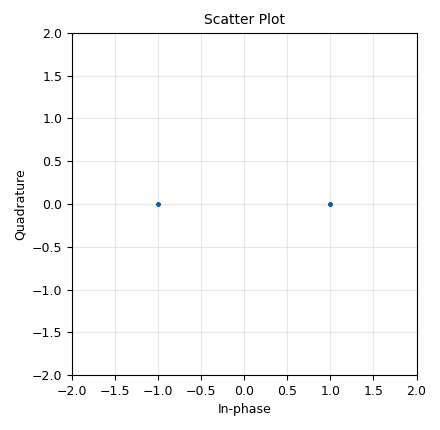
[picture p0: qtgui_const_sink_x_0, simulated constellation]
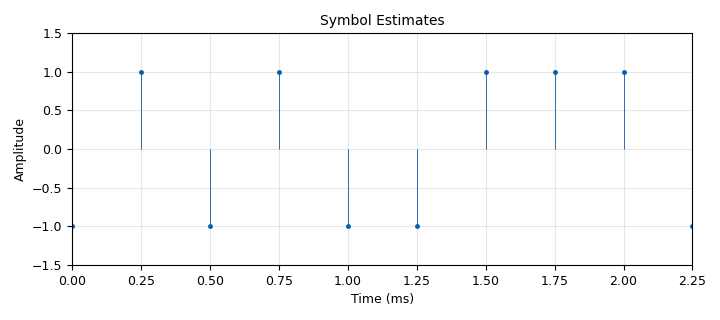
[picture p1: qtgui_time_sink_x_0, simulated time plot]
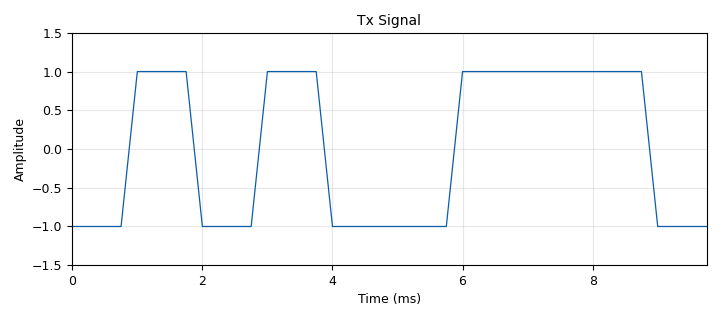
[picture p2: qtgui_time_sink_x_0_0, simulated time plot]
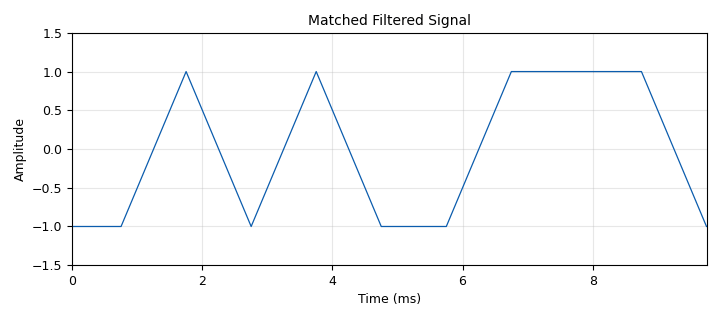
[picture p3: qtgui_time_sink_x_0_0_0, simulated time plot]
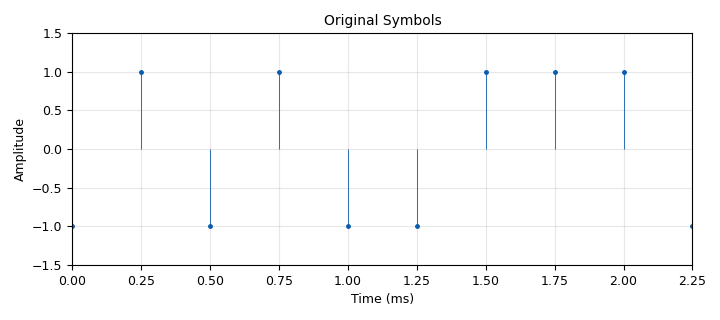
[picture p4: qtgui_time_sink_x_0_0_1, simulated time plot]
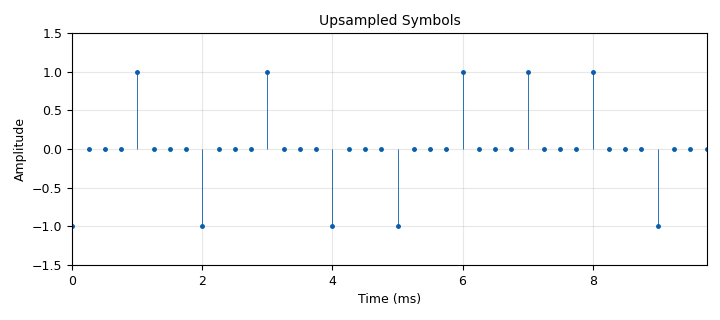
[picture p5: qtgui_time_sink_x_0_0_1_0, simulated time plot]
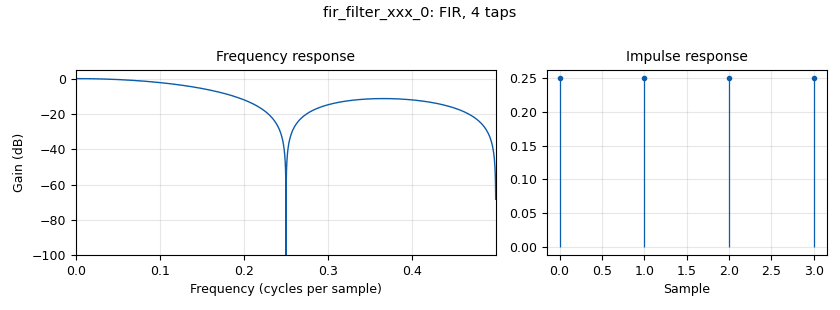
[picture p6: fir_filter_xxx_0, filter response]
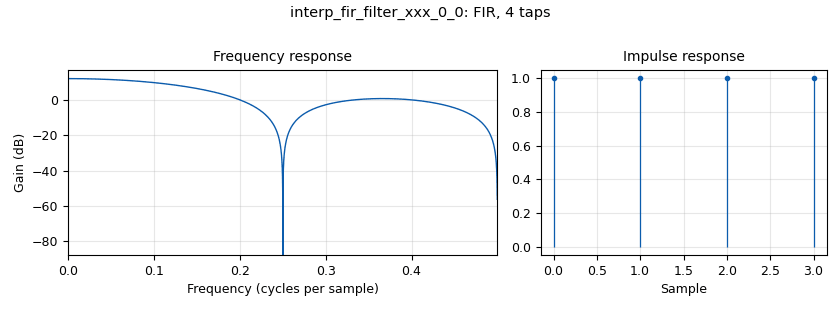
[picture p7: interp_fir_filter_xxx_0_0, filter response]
options:
  parameters:
    author: Qasim Chaudhari
    generate_options: qt_gui
    id: pam_rx_rect
    output_language: python
    title: PAM Rx Rect
  states: {}

blocks:
- name: downsample_delay
  id: variable
  parameters:
    value: '0'
  states: {}
- name: nSymbols
  id: variable
  parameters:
    value: '10'
  states: {}
- name: samp_per_sym
  id: variable
  parameters:
    value: '4'
  states: {}
- name: samp_rate
  id: variable
  parameters:
    value: '4000'
  states: {}
- name: analog_random_source_x_0
  id: analog_random_source_x
  parameters:
    comment: Bits Generation
    max: '2'
    min: '0'
    num_samps: '1000'
    repeat: 'True'
    type: byte
  states: {}
- name: blocks_char_to_float_0
  id: blocks_char_to_float
  parameters:
    scale: '1'
  states: {}
- name: blocks_float_to_complex_0
  id: blocks_float_to_complex
  parameters: {}
  states: {}
- name: blocks_keep_one_in_n_0
  id: blocks_keep_one_in_n
  parameters:
    n: samp_per_sym
    type: float
  states: {}
- name: blocks_pack_k_bits_bb_0
  id: blocks_pack_k_bits_bb
  parameters:
    k: '1'
  states: {}
- name: blocks_skiphead_0
  id: blocks_skiphead
  parameters:
    num_items: downsample_delay
    type: float
  states: {}
- name: blocks_throttle_0
  id: blocks_throttle
  parameters:
    samples_per_second: samp_rate
    type: byte
  states: {}
- name: digital_map_bb_0
  id: digital_map_bb
  parameters:
    comment: Look-Up Table
    map: (-1,1)
  states: {}
- name: fir_filter_xxx_0
  id: fir_filter_xxx
  parameters:
    comment: Matched Filter
    decim: '1'
    taps: 1./float(samp_per_sym)*np.ones(samp_per_sym)
    type: fff
  states: {}
- name: import_0
  id: import
  parameters:
    imports: import numpy as np
  states: {}
- name: interp_fir_filter_xxx_0
  id: interp_fir_filter_xxx
  parameters:
    comment: Upsampler
    interp: samp_per_sym
    taps: np.hstack((1,np.zeros(samp_per_sym-1)))
    type: fff
  states: {}
- name: interp_fir_filter_xxx_0_0
  id: interp_fir_filter_xxx
  parameters:
    comment: Rectangular Pulse
    interp: '1'
    taps: np.ones(samp_per_sym)
    type: fff
  states: {}
- name: note_0_1
  id: note
  parameters:
    note: Downsampler
  states: {}
- name: qtgui_const_sink_x_0
  id: qtgui_const_sink_x
  parameters:
    grid: 'True'
    gui_hint: 1,2,1,1
    legend: 'False'
    name: Scatter Plot
    size: '100'
    type: complex
  states: {}
- name: qtgui_time_sink_x_0
  id: qtgui_time_sink_x
  parameters:
    grid: 'True'
    gui_hint: 1,1,1,1
    label1: ''
    legend: 'False'
    marker1: '0'
    name: Symbol Estimates
    size: nSymbols
    srate: samp_rate
    stemplot: 'True'
    type: float
    width1: '2'
    ymax: '1.5'
    ymin: '-1.5'
  states: {}
- name: qtgui_time_sink_x_0_0
  id: qtgui_time_sink_x
  parameters:
    grid: 'True'
    gui_hint: 0,2,1,1
    label1: ''
    legend: 'False'
    name: Tx Signal
    size: nSymbols*samp_per_sym
    srate: samp_rate
    type: float
    width1: '2'
    ymax: '1.5'
    ymin: '-1.5'
  states: {}
- name: qtgui_time_sink_x_0_0_0
  id: qtgui_time_sink_x
  parameters:
    grid: 'True'
    gui_hint: 1,0,1,1
    label1: ''
    legend: 'False'
    name: Matched Filtered Signal
    size: nSymbols*samp_per_sym
    srate: samp_rate
    type: float
    width1: '2'
    ymax: '1.5'
    ymin: '-1.5'
  states: {}
- name: qtgui_time_sink_x_0_0_1
  id: qtgui_time_sink_x
  parameters:
    grid: 'True'
    gui_hint: 0,0,1,1
    label1: ''
    legend: 'False'
    marker1: '0'
    name: Original Symbols
    size: nSymbols
    srate: samp_rate
    stemplot: 'True'
    type: float
    width1: '2'
    ymax: '1.5'
    ymin: '-1.5'
  states: {}
- name: qtgui_time_sink_x_0_0_1_0
  id: qtgui_time_sink_x
  parameters:
    grid: 'True'
    gui_hint: 0,1,1,1
    label1: ''
    legend: 'False'
    marker1: '0'
    name: Upsampled Symbols
    size: nSymbols*samp_per_sym
    srate: samp_rate
    stemplot: 'True'
    type: float
    width1: '2'
    ymax: '1.5'
    ymin: '-1.5'
  states: {}
- name: virtual_sink_0
  id: virtual_sink
  parameters:
    stream_id: Tx
  states: {}
- name: virtual_source_0
  id: virtual_source
  parameters:
    stream_id: Tx
  states: {}

connections:
- [analog_random_source_x_0, '0', blocks_throttle_0, '0']
- [blocks_char_to_float_0, '0', interp_fir_filter_xxx_0, '0']
- [blocks_char_to_float_0, '0', qtgui_time_sink_x_0_0_1, '0']
- [blocks_float_to_complex_0, '0', qtgui_const_sink_x_0, '0']
- [blocks_keep_one_in_n_0, '0', blocks_float_to_complex_0, '0']
- [blocks_keep_one_in_n_0, '0', qtgui_time_sink_x_0, '0']
- [blocks_pack_k_bits_bb_0, '0', digital_map_bb_0, '0']
- [blocks_skiphead_0, '0', blocks_keep_one_in_n_0, '0']
- [blocks_throttle_0, '0', blocks_pack_k_bits_bb_0, '0']
- [digital_map_bb_0, '0', blocks_char_to_float_0, '0']
- [fir_filter_xxx_0, '0', blocks_skiphead_0, '0']
- [fir_filter_xxx_0, '0', qtgui_time_sink_x_0_0_0, '0']
- [interp_fir_filter_xxx_0, '0', interp_fir_filter_xxx_0_0, '0']
- [interp_fir_filter_xxx_0, '0', qtgui_time_sink_x_0_0_1_0, '0']
- [interp_fir_filter_xxx_0_0, '0', qtgui_time_sink_x_0_0, '0']
- [interp_fir_filter_xxx_0_0, '0', virtual_sink_0, '0']
- [virtual_source_0, '0', fir_filter_xxx_0, '0']

metadata:
  file_format: 1
